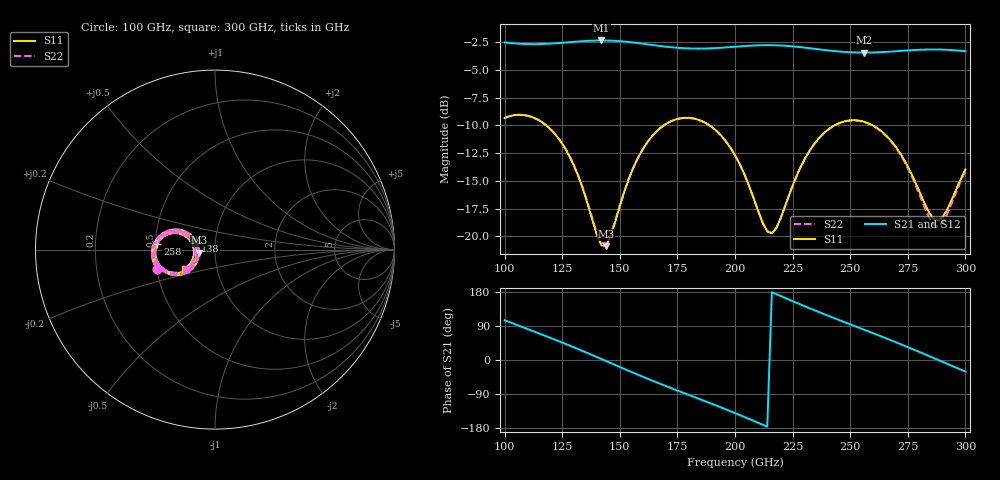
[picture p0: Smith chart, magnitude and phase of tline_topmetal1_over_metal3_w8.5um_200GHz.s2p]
#  GHZ S DB R 50
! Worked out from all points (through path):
!   101 points, 100 GHz to 300 GHz, reference 50 ohm
!   highest |S21| = -2.36 dB at 142 GHz (marker M1); lowest = -3.4 dB at 256 GHz (marker M2)
!   group delay of S21, straight-line fit = 6.89 ps
!   lowest |S11| = -20.9 dB at 144 GHz (marker M3), VSWR 1.20, Z = 41.8 - j1.38 ohm
!   |S11| at or under -10 dB: 118 GHz to 169.2 GHz (51.16 GHz wide, 35.6 % of centre); 188.9 GHz to 243.3 GHz (54.41 GHz wide, 25.2 % of centre); 259.8 GHz to end of sweep
!   |S22| runs from -20.7 to -9.0 dB; largest |S21 - S12| = 8.1e-14
!   S11 on the Smith chart (normalised r, x): 100 GHz: 0.50, -0.12; 138 GHz: 0.80, +0.08; 258 GHz: 0.51, +0.04; 300 GHz: 0.70, -0.15
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100  -9.34 -162.0  -2.54 105.1  -2.54 105.1  -9.34 -162.0
118  -9.99 165.7  -2.66 62.9  -2.66 62.9  -9.98 165.8
126  -11.98 153.5  -2.55 43.6  -2.55 43.6  -11.95 153.8
134  -15.74 148.3  -2.42 23.5  -2.42 23.5  -15.67 148.8
138  -18.48 154.6  -2.38 13.1  -2.38 13.1  -18.33 155.2
142  -20.80 175.5  -2.36 2.7  -2.36 2.7  -20.57 175.6
144  -20.88 -169.5  -2.36 -2.6  -2.36 -2.6  -20.65 -170.0
156  -13.76 -140.8  -2.55 -34.0  -2.55 -34.0  -13.73 -141.6
168  -10.18 -156.8  -2.87 -63.8  -2.87 -63.8  -10.17 -157.2
184  -9.49 176.3  -3.09 -101.6  -3.09 -101.6  -9.49 176.0
200  -12.69 153.7  -2.92 -140.1  -2.92 -140.1  -12.69 153.4
208  -16.51 153.8  -2.81 -160.3  -2.81 -160.3  -16.50 153.6
216  -19.73 -173.4  -2.78 178.9  -2.78 178.9  -19.70 -173.8
224  -15.98 -145.3  -2.87 158.0  -2.87 158.0  -15.98 -145.8
234  -11.79 -149.4  -3.10 132.6  -3.10 132.6  -11.80 -150.0
244  -9.91 -163.6  -3.33 108.3  -3.33 108.3  -9.93 -164.2
256  -9.67 177.5  -3.45 80.0  -3.45 80.0  -9.70 176.7
258  -9.82 174.5  -3.45 75.3  -3.45 75.3  -9.85 173.6
268  -11.45 160.8  -3.36 51.4  -3.36 51.4  -11.53 159.6
278  -14.99 156.0  -3.22 26.4  -3.22 26.4  -15.21 154.3
288  -18.59 -175.4  -3.17 0.6  -3.17 0.6  -19.12 -175.2
300  -13.97 -147.9  -3.33 -30.4  -3.33 -30.4  -14.13 -146.2
